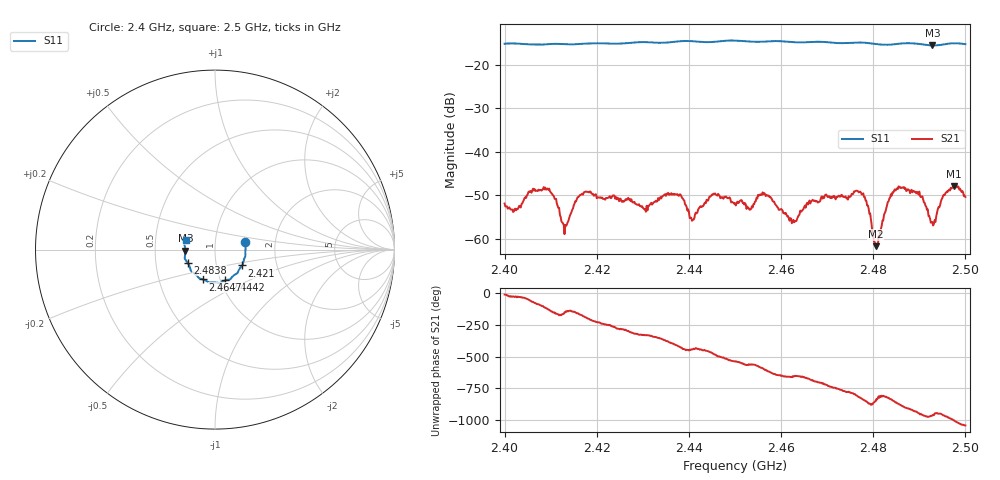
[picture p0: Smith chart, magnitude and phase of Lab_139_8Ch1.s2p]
# Hz S RI R 50
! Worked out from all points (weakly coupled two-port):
!   601 points, 2.4 GHz to 2.5 GHz, reference 50 ohm
!   highest |S21| = -47.84 dB at 2.4975 GHz (marker M1); lowest = -61.7 dB at 2.4805 GHz (marker M2)
!   lowest |S11| = -15.6 dB at 2.4928 GHz (marker M3), VSWR 1.40, Z = 35.8 - j0.378 ohm
!   |S11| at or under -10 dB: start of sweep to end of sweep
!   S12 and S22 are empty: the file has one direction only
!   S11 on the Smith chart (normalised r, x): 2.4 GHz: 1.40, +0.12; 2.421 GHz: 1.33, -0.24; 2.4442 GHz: 1.05, -0.37; 2.4647 GHz: 0.83, -0.29; 2.4838 GHz: 0.73, -0.11; 2.5 GHz: 0.72, +0.08
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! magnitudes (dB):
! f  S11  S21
! 2.4 GHz  -15.2  -51.9
! 2.4093 GHz  -15.3  -48.5
! 2.4132 GHz  -15.3  -56.8
! 2.4167 GHz  -15.3  -49.8
! 2.421 GHz  -15.1  -50.6
! 2.4333 GHz  -15.0  -50.6
! 2.438 GHz  -14.7  -49.8
! 2.4407 GHz  -14.6  -55.9
! 2.4442 GHz  -14.9  -51.2
! 2.45 GHz  -14.5  -51.8
! 2.4565 GHz  -14.7  -49.7
! 2.4628 GHz  -14.9  -56.2
! 2.4647 GHz  -14.9  -53.4
! 2.4667 GHz  -14.8  -51.3
! 2.4773 GHz  -15.0  -49.3
! 2.4805 GHz  -15.3  -61.7
! 2.4833 GHz  -15.5  -51.4
! 2.4838 GHz  -15.4  -49.8
! 2.4895 GHz  -15.2  -49.2
! 2.4928 GHz  -15.6  -56.1
! 2.4975 GHz  -15.1  -47.8
! 2.5 GHz  -15.3  -50.4
